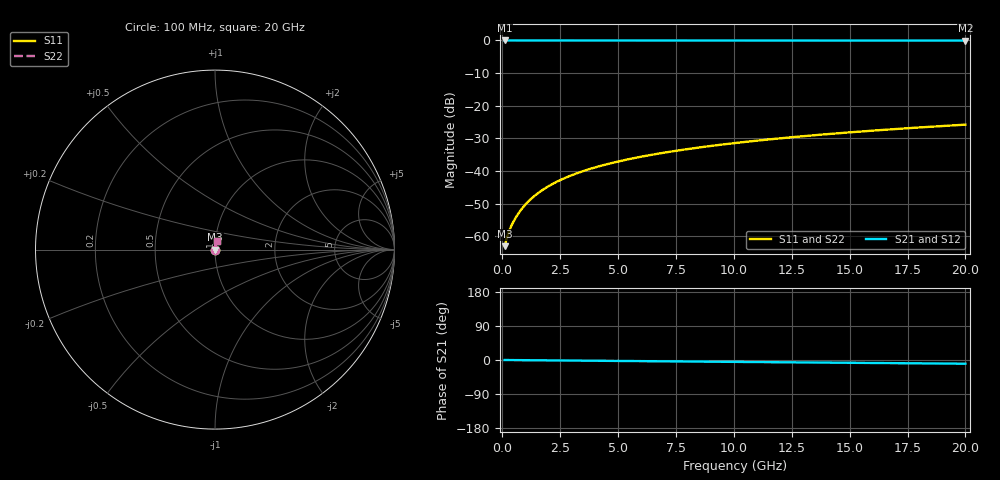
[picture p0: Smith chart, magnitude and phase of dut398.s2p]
! Touchstone file exported from HFSS 2026.1.0
!  File:  C:/ffzhzh/LocalFiles/Ansys_Project_Files/temp_train_BSMRDL_398_1783012304_4048.aedt
!  Generated:  01:13:05 AM Jul  3, 2026
!  Design:  BSMRDL
!  Project:  temp_train_BSMRDL_398_1783012304_4048
! Variables:
!  h_bsmrdl = 4.71um
!  h_ox = 20um
!  h_rdl = 5um
!  h_sub = 80um
!  h_tmrdl = 5um
!  h_tsv = 80um
!  h_via = 3um
!  l_bsmrdl = 143.75um
!  l_sub = 543.75um
!  l_tmrdl = 200um
!  m_sub = 200um
!  pitch = 38.47um
!  r_tsv = 6um
!  s_tmrdl = 10um
!  w_bsmrdl = 27.11um
!  w_sub = 500um
!  w_tmrdl = 12um
!  x_tsv_center1 = 206um
!  x_tsv_center2 = 376.86um
!  x_tsv_center3 = 588.86um
!  x_tsv_center4 = 759.72um
!  x_tsv_center5 = 971.72um
!  x_tsv_center6 = 1142.58um
# GHz S MA R 50.000000
! Terminal data exported
! Port[1] = BSM_RDL1_1_T1
! Port[2] = BSM_RDL1_1_T2
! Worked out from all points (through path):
!   200 points, 100 MHz to 20 GHz, reference 50 ohm
!   highest |S21| = -0.01 dB at 100 MHz (marker M1); lowest = 0.0 dB at 20 GHz (marker M2)
!   group delay of S21, straight-line fit = 1.35 ps
!   lowest |S11| = -63.1 dB at 100 MHz (marker M3), VSWR 1.00, Z = 50.1 + j0.0373 ohm
!   |S11| at or under -10 dB: start of sweep to end of sweep
!   |S22| runs from -63.1 to -25.8 dB; largest |S21 - S12| = 3.2e-15
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0.1  0.0007026 32.0  0.9994 -0.1  0.9994 -0.1  0.0007026 32.0
! Gamma 0 0 0 0
! Port Impedance 50 0 50 0
0.2  0.0009564 46.4  0.9993 -0.1  0.9993 -0.1  0.0009564 46.4
0.3  0.00121 54.1  0.9993 -0.2  0.9993 -0.2  0.00121 54.1
0.4  0.001461 59.4  0.9993 -0.2  0.9993 -0.2  0.001461 59.4
0.5  0.001715 63.4  0.9992 -0.3  0.9992 -0.3  0.001715 63.4
0.6  0.001976 66.5  0.9992 -0.3  0.9992 -0.3  0.001976 66.5
0.8  0.00251 70.8  0.9992 -0.4  0.9992 -0.4  0.00251 70.8
1  0.003057 73.7  0.9992 -0.5  0.9992 -0.5  0.003057 73.7
1.2  0.003611 75.6  0.9991 -0.6  0.9991 -0.6  0.003611 75.6
1.4  0.004168 77.0  0.9991 -0.7  0.9991 -0.7  0.004168 77.0
1.7  0.005006 78.4  0.9991 -0.9  0.9991 -0.9  0.005006 78.4
2.2  0.0064 79.6  0.999 -1.1  0.999 -1.1  0.0064 79.6
2.8  0.008055 80.4  0.9988 -1.4  0.9988 -1.4  0.008055 80.4
3.5  0.009957 80.7  0.9986 -1.8  0.9986 -1.8  0.009957 80.7
4.2  0.01183 80.8  0.9985 -2.1  0.9985 -2.1  0.01183 80.8
5  0.01393 80.7  0.9983 -2.5  0.9983 -2.5  0.01393 80.7
6.8  0.01857 80.4  0.9978 -3.4  0.9978 -3.4  0.01857 80.4
8.3  0.02237 80.1  0.9975 -4.1  0.9975 -4.1  0.02237 80.1
10.1  0.02688 79.6  0.9971 -5.0  0.9971 -5.0  0.02688 79.6
13.4  0.03507 78.6  0.9964 -6.6  0.9964 -6.6  0.03507 78.6
16.7  0.04318 77.4  0.9957 -8.2  0.9957 -8.2  0.04318 77.4
20  0.0512 76.1  0.995 -9.8  0.995 -9.8  0.0512 76.1
